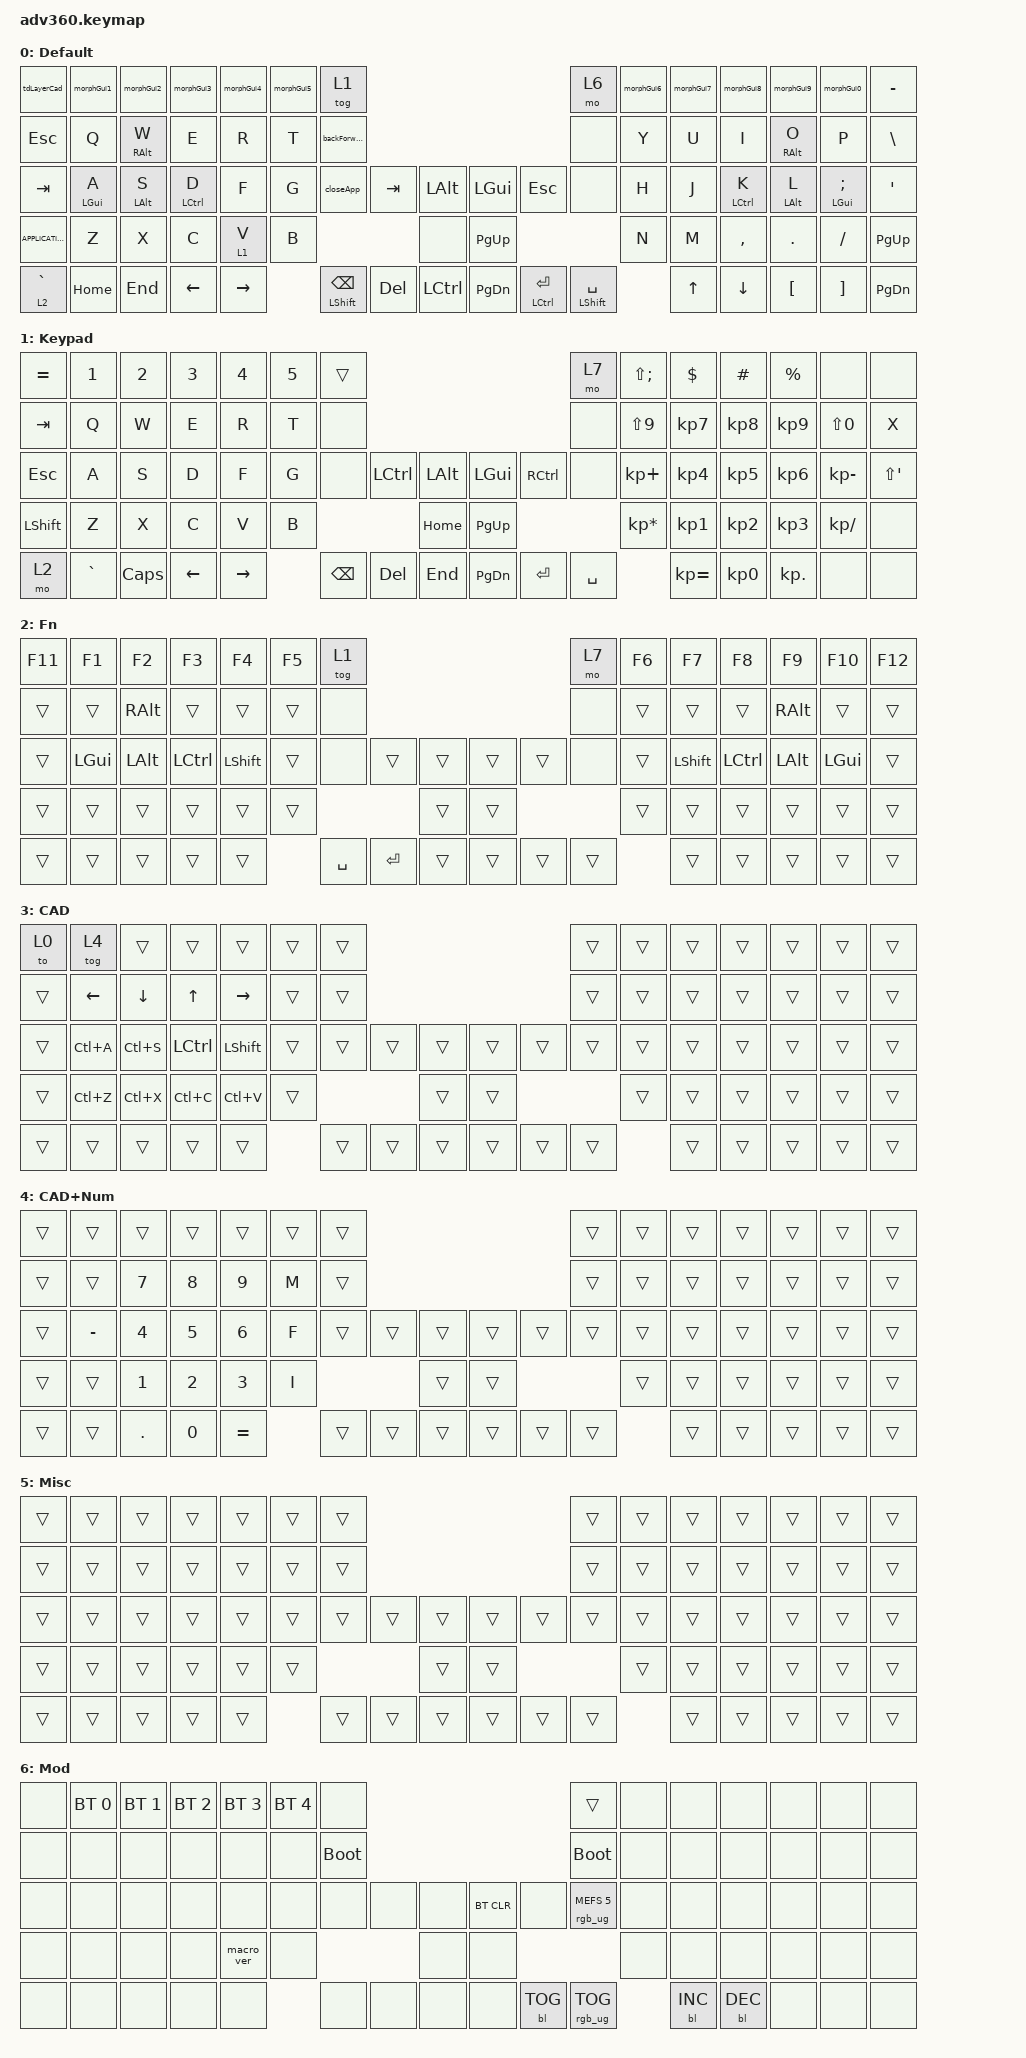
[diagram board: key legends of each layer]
#include "key_labels.h"
#include <behaviors.dtsi>
#include <dt-bindings/zmk/backlight.h>
#include <dt-bindings/zmk/bt.h>
#include <dt-bindings/zmk/keys.h>
#include <dt-bindings/zmk/rgb.h>

#define KEYS_L   0  1  2  3  4  5  6 \
                14 15 16 17 18 19 20 \
                28 29 30 31 32 33 34 \
                46 47 48 49 50 51    \
                60 61 62 63 64
#define THUMBS_LEFT     35 36 \
                           52 \
                     65 66 67 \
#define KEYS_R   7  8  9 10 11 12 13 \
                21 22 23 24 25 26 27 \
                39 40 41 42 43 44 45 \
                   54 55 56 57 58 59 \
                      71 72 73 74 75
#define THUMBS_RIGHT 37 38    \
                     53       \
                     68 69 70 \

// #define KEYS_L LN0 LN1 LN2 LN3 LN4 LN5 LT0 LT1 LT2 LT3 LT4 LT5 LM0 LM1 LM2 LM3 LM4 LM4 LB0 LB1 LB2 LB3 LB4 LB5  // left-hand keys
// #define KEYS_R RN0 RN1 RN2 RN3 RN4 RN5 RT0 RT1 RT2 RT3 RT4 RT5 RM0 RM1 RM2 RM3 RM4 RM4 RB0 RB1 RB2 RB3 RB4 RB5  // right-hand keys
// #define THUMBS LH1 LH0 RH0 RH1                                      // thumb keys

/ {
    behaviors {
        #include "macros.dtsi"
      #include "version.dtsi"
      #ifndef VERSION_MACRO

        macro_ver: macro_ver {
            compatible = "zmk,behavior-macro";
            label = "macro_version";
            #binding-cells = <0>;
            bindings = <&kp RET>;
        };

        #endif

        hml: hml {
            compatible = "zmk,behavior-hold-tap";
            label = "HML";
            #binding-cells = <2>;
            flavor = "balanced";
            tapping-term-ms = <280>;
            quick-tap-ms = <175>;                // repeat on tap-into-hold
            require-prior-idle-ms = <150>;
            bindings = <&kp>, <&kp>;

            hold-trigger-key-positions = <KEYS_R THUMBS_LEFT THUMBS_RIGHT>;
            hold-trigger-on-release;             // delay positional check until key-release
        };

        hmr: hmr {
            compatible = "zmk,behavior-hold-tap";
            label = "HMR";
            #binding-cells = <2>;
            flavor = "balanced";
            tapping-term-ms = <280>;
            quick-tap-ms = <175>;                // repeat on tap-into-hold
            require-prior-idle-ms = <150>;
            bindings = <&kp>, <&kp>;

            hold-trigger-key-positions = <KEYS_L THUMBS_LEFT THUMBS_RIGHT>;
            hold-trigger-on-release;             // delay positional check until key-release
        };

        hmll: hmll {
            compatible = "zmk,behavior-hold-tap";
            label = "HMLL";
            #binding-cells = <2>;
            flavor = "balanced";
            tapping-term-ms = <280>;
            quick-tap-ms = <175>;                // repeat on tap-into-hold
            require-prior-idle-ms = <150>;
            bindings = <&mo>, <&kp>;

            hold-trigger-key-positions = <KEYS_R THUMBS_LEFT THUMBS_RIGHT>;
            hold-trigger-on-release;             // delay positional check until key-release
        };

        hm: homerow_mods {
            compatible = "zmk,behavior-hold-tap";
            label = "HOMEROW_MODS";
            #binding-cells = <2>;
            tapping-term-ms = <200>;
            quick_tap_ms = <175>;
            flavor = "tap-preferred";
            bindings = <&kp>, <&kp>;
        };

        closeApp: closeApp {
            compatible = "zmk,behavior-tap-dance";
            label = "CLOSEAPP";
            #binding-cells = <0>;
            bindings = <&kp LC(F4)>, <&kp LA(F4)>;
        };

        backForward: backForward {
            compatible = "zmk,behavior-tap-dance";
            label = "BACKFORWARD";
            #binding-cells = <0>;
            bindings = <&kp LA(LEFT_ARROW)>, <&kp LA(RIGHT_ARROW)>;
        };

        morphGui1: morphGui1 {
            compatible = "zmk,behavior-mod-morph";
            label = "MORPHGUI1";
            bindings = <&kp LG(N1)>, <&kp N1>;

            #binding-cells = <0>;
            keep-mods = <(MOD_RGUI|MOD_RALT|MOD_RSFT|MOD_RCTL|MOD_LGUI|MOD_LSFT|MOD_LCTL|MOD_LALT)>;
            mods = <(MOD_RGUI|MOD_RALT|MOD_RSFT|MOD_RCTL|MOD_LGUI|MOD_LALT|MOD_LSFT|MOD_LCTL)>;
        };

        morphGui2: morphGui2 {
            compatible = "zmk,behavior-mod-morph";
            label = "MORPHGUI2";
            bindings = <&kp LG(N2)>, <&kp N2>;

            #binding-cells = <0>;
            mods = <(MOD_LCTL|MOD_LSFT|MOD_LALT|MOD_LGUI|MOD_RCTL|MOD_RSFT|MOD_RALT|MOD_RGUI)>;
            keep-mods = <(MOD_LCTL|MOD_LSFT|MOD_LALT|MOD_LGUI|MOD_RCTL|MOD_RSFT|MOD_RALT|MOD_RGUI)>;
        };

        morphGui3: morphGui3 {
            compatible = "zmk,behavior-mod-morph";
            label = "MORPHGUI3";
            bindings = <&kp LG(N3)>, <&kp N3>;

            #binding-cells = <0>;
            mods = <(MOD_RGUI|MOD_RALT|MOD_RSFT|MOD_RCTL|MOD_LGUI|MOD_LALT|MOD_LSFT|MOD_LCTL)>;
            keep-mods = <(MOD_LCTL|MOD_LALT|MOD_LGUI|MOD_LSFT|MOD_RCTL|MOD_RSFT|MOD_RALT|MOD_RGUI)>;
        };

        morphGui4: morphGui4 {
            compatible = "zmk,behavior-mod-morph";
            label = "MORPHGUI4";
            bindings = <&kp LG(N4)>, <&kp N4>;

            #binding-cells = <0>;
            mods = <(MOD_LCTL|MOD_LSFT|MOD_LALT|MOD_LGUI|MOD_RCTL|MOD_RSFT|MOD_RALT|MOD_RGUI)>;
            keep-mods = <(MOD_LCTL|MOD_LSFT|MOD_LALT|MOD_LGUI|MOD_RCTL|MOD_RSFT|MOD_RGUI|MOD_RALT)>;
        };

        morphGui5: morphGui5 {
            compatible = "zmk,behavior-mod-morph";
            label = "MORPHGUI5";
            bindings = <&kp LG(N5)>, <&kp N5>;

            #binding-cells = <0>;
            mods = <(MOD_RGUI|MOD_RALT|MOD_RSFT|MOD_RCTL|MOD_LGUI|MOD_LALT|MOD_LSFT|MOD_LCTL)>;
            keep-mods = <(MOD_RGUI|MOD_RALT|MOD_RSFT|MOD_RCTL|MOD_LGUI|MOD_LALT|MOD_LSFT|MOD_LCTL)>;
        };

        morphGui6: morphGui6 {
            compatible = "zmk,behavior-mod-morph";
            label = "MORPHGUI6";
            bindings = <&kp LG(N6)>, <&kp N6>;

            #binding-cells = <0>;
            mods = <(MOD_LCTL|MOD_LSFT|MOD_LALT|MOD_LGUI|MOD_RCTL|MOD_RSFT|MOD_RGUI|MOD_RALT)>;
            keep-mods = <(MOD_RGUI|MOD_RALT|MOD_RSFT|MOD_RCTL|MOD_LGUI|MOD_LALT|MOD_LSFT|MOD_LCTL)>;
        };

        morphGui7: morphGui7 {
            compatible = "zmk,behavior-mod-morph";
            label = "MORPHGUI7";
            bindings = <&kp LG(N7)>, <&kp N7>;

            #binding-cells = <0>;
            mods = <(MOD_LCTL|MOD_LSFT|MOD_LALT|MOD_LGUI|MOD_RCTL|MOD_RSFT|MOD_RALT|MOD_RGUI)>;
            keep-mods = <(MOD_LCTL|MOD_LSFT|MOD_LALT|MOD_LGUI|MOD_RCTL|MOD_RSFT|MOD_RALT|MOD_RGUI)>;
        };

        morphGui8: morphGui8 {
            compatible = "zmk,behavior-mod-morph";
            label = "MORPHGUI8";
            bindings = <&kp LG(N8)>, <&kp N8>;

            #binding-cells = <0>;
            mods = <(MOD_LCTL|MOD_LSFT|MOD_LALT|MOD_LGUI|MOD_RCTL|MOD_RSFT|MOD_RALT|MOD_RGUI)>;
            keep-mods = <(MOD_LCTL|MOD_LSFT|MOD_LALT|MOD_LGUI|MOD_RCTL|MOD_RSFT|MOD_RALT|MOD_RGUI)>;
        };

        morphGui9: morphGui9 {
            compatible = "zmk,behavior-mod-morph";
            label = "MORPHGUI9";
            bindings = <&kp LG(N9)>, <&kp N9>;

            #binding-cells = <0>;
            mods = <(MOD_LCTL|MOD_LSFT|MOD_LALT|MOD_LGUI|MOD_RCTL|MOD_RSFT|MOD_RALT|MOD_RGUI)>;
            keep-mods = <(MOD_LCTL|MOD_LSFT|MOD_LALT|MOD_LGUI|MOD_RCTL|MOD_RSFT|MOD_RALT|MOD_RGUI)>;
        };

        morphGui0: morphGui0 {
            compatible = "zmk,behavior-mod-morph";
            label = "MORPHGUI0";
            bindings = <&kp LG(N0)>, <&kp N0>;

            #binding-cells = <0>;
            mods = <(MOD_LCTL|MOD_LSFT|MOD_LALT|MOD_LGUI|MOD_RCTL|MOD_RSFT|MOD_RALT|MOD_RGUI)>;
            keep-mods = <(MOD_LCTL|MOD_LSFT|MOD_LALT|MOD_LGUI|MOD_RCTL|MOD_RSFT|MOD_RALT|MOD_RGUI)>;
        };

        tdLayerCad: tdLayerCad {
            compatible = "zmk,behavior-tap-dance";
            label = "TDLAYERCAD";
            #binding-cells = <0>;
            bindings = <&kp EQUAL>, <&to 3>;
        };

        htGeneric: htGeneric {
            compatible = "zmk,behavior-hold-tap";
            label = "HTGENERIC";
            bindings = <&mo>, <&kp>;

            #binding-cells = <2>;
            tapping-term-ms = <200>;
        };

        htThumb: htThumb {
            compatible = "zmk,behavior-hold-tap";
            label = "HTTHUMB";
            bindings = <&kp>, <&kp>;

            #binding-cells = <2>;
            tapping-term-ms = <200>;
            quick-tap-ms = <250>;
            flavor = "balanced";
        };
    };

    macros {
    };

    keymap {
        compatible = "zmk,keymap";

        Default {
            bindings = <
&tdLayerCad         &morphGui1   &morphGui2        &morphGui3    &morphGui4  &morphGui5  &tog 1                                                                                     &mo 6                  &morphGui6  &morphGui7  &morphGui8    &morphGui9        &morphGui0           &kp MINUS
&kp ESC             &kp Q        &hml RIGHT_ALT W  &kp E         &kp R       &kp T       &backForward                                                                               &none                  &kp Y       &kp U       &kp I         &hmr RIGHT_ALT O  &kp P                &kp BSLH
&kp TAB             &hml LGUI A  &hml LALT S       &hml LCTRL D  &kp F       &kp G       &closeApp                      &kp TAB     &kp LALT       &kp LGUI   &kp ESCAPE            &none                  &kp H       &kp J       &hmr LCTRL K  &hmr LALT L       &hmr LGUI SEMICOLON  &kp SQT
&kp K_APPLICATION   &kp Z        &kp X             &kp C         &hmll 1 V   &kp B                                                  &none          &kp PG_UP                                               &kp N       &kp M       &kp COMMA     &kp DOT           &kp FSLH             &kp PG_UP
&htGeneric 2 GRAVE  &kp HOME     &kp END           &kp LEFT      &kp RIGHT               &htThumb LEFT_SHIFT BACKSPACE  &kp DELETE  &kp LCTRL      &kp PG_DN  &htThumb LCTRL ENTER  &htThumb LSHIFT SPACE              &kp UP      &kp DOWN      &kp LBKT          &kp RBKT             &kp PG_DN
            >;
        };

        Keypad {
            bindings = <
&kp EQUAL  &kp N1     &kp N2    &kp N3    &kp N4     &kp N5  &trans                                                   &mo 7      &kp LS(SEMICOLON)  &kp DOLLAR    &kp HASH   &kp PERCENT  &none         &none
&kp TAB    &kp Q      &kp W     &kp E     &kp R      &kp T   &none                                                    &none      &kp LS(N9)         &kp KP_N7     &kp KP_N8  &kp KP_N9    &kp LS(N0)    &kp X
&kp ESC    &kp A      &kp S     &kp D     &kp F      &kp G   &none     &kp LCTRL  &kp LALT      &kp LGUI   &kp RCTRL  &none      &kp KP_PLUS        &kp KP_N4     &kp KP_N5  &kp KP_N6    &kp KP_MINUS  &kp LS(SQT)
&kp LSHFT  &kp Z      &kp X     &kp C     &kp V      &kp B                        &kp HOME      &kp PG_UP                        &kp KP_MULTIPLY    &kp KP_N1     &kp KP_N2  &kp KP_N3    &kp KP_SLASH  &none
&mo 2      &kp GRAVE  &kp CAPS  &kp LEFT  &kp RIGHT          &kp BSPC  &kp DEL    &kp END       &kp PG_DN  &kp ENTER  &kp SPACE                     &kp KP_EQUAL  &kp KP_N0  &kp KP_DOT   &none         &none
            >;
        };

        Fn {
            bindings = <
&kp F11  &kp F1    &kp F2    &kp F3     &kp F4     &kp F5  &tog 1                                            &mo 7   &kp F6  &kp F7     &kp F8     &kp F9    &kp F10   &kp F12
&trans   &trans    &kp RALT  &trans     &trans     &trans  &none                                             &none   &trans  &trans     &trans     &kp RALT  &trans    &trans
&trans   &kp LGUI  &kp LALT  &kp LCTRL  &kp LSHFT  &trans  &none      &trans     &trans      &trans  &trans  &none   &trans  &kp LSHFT  &kp LCTRL  &kp LALT  &kp LGUI  &trans
&trans   &trans    &trans    &trans     &trans     &trans                        &trans      &trans                  &trans  &trans     &trans     &trans    &trans    &trans
&trans   &trans    &trans    &trans     &trans             &kp SPACE  &kp ENTER  &trans      &trans  &trans  &trans          &trans     &trans     &trans    &trans    &trans
            >;
        };

        CAD {
            bindings = <
&to 0   &tog 4     &trans     &trans     &trans      &trans  &trans                                      &trans  &trans  &trans  &trans  &trans  &trans  &trans
&trans  &kp LEFT   &kp DOWN   &kp UP     &kp RIGHT   &trans  &trans                                      &trans  &trans  &trans  &trans  &trans  &trans  &trans
&trans  &kp LC(A)  &kp LC(S)  &kp LCTRL  &kp LSHIFT  &trans  &trans  &trans  &trans      &trans  &trans  &trans  &trans  &trans  &trans  &trans  &trans  &trans
&trans  &kp LC(Z)  &kp LC(X)  &kp LC(C)  &kp LC(V)   &trans                  &trans      &trans                  &trans  &trans  &trans  &trans  &trans  &trans
&trans  &trans     &trans     &trans     &trans              &trans  &trans  &trans      &trans  &trans  &trans          &trans  &trans  &trans  &trans  &trans
            >;
        };

        CAD+Num {
            bindings = <
&trans  &trans     &trans   &trans  &trans     &trans  &trans                                      &trans  &trans  &trans  &trans  &trans  &trans  &trans
&trans  &trans     &kp N7   &kp N8  &kp N9     &kp M   &trans                                      &trans  &trans  &trans  &trans  &trans  &trans  &trans
&trans  &kp MINUS  &kp N4   &kp N5  &kp N6     &kp F   &trans  &trans  &trans      &trans  &trans  &trans  &trans  &trans  &trans  &trans  &trans  &trans
&trans  &trans     &kp N1   &kp N2  &kp N3     &kp I                   &trans      &trans                  &trans  &trans  &trans  &trans  &trans  &trans
&trans  &trans     &kp DOT  &kp N0  &kp EQUAL          &trans  &trans  &trans      &trans  &trans  &trans          &trans  &trans  &trans  &trans  &trans
            >;
        };

        Misc {
            bindings = <
&trans  &trans  &trans  &trans  &trans  &trans  &trans                                      &trans  &trans  &trans  &trans  &trans  &trans  &trans
&trans  &trans  &trans  &trans  &trans  &trans  &trans                                      &trans  &trans  &trans  &trans  &trans  &trans  &trans
&trans  &trans  &trans  &trans  &trans  &trans  &trans  &trans  &trans      &trans  &trans  &trans  &trans  &trans  &trans  &trans  &trans  &trans
&trans  &trans  &trans  &trans  &trans  &trans                  &trans      &trans                  &trans  &trans  &trans  &trans  &trans  &trans
&trans  &trans  &trans  &trans  &trans          &trans  &trans  &trans      &trans  &trans  &trans          &trans  &trans  &trans  &trans  &trans
            >;
        };

        Mod {
            bindings = <
&none  &bt BT_SEL 0  &bt BT_SEL 1  &bt BT_SEL 2  &bt BT_SEL 3  &bt BT_SEL 4  &none                                                  &trans                  &none  &none       &none       &none  &none  &none
&none  &none         &none         &none         &none         &none         &bootloader                                            &bootloader             &none  &none       &none       &none  &none  &none
&none  &none         &none         &none         &none         &none         &none        &none  &none      &bt BT_CLR  &none       &rgb_ug RGB_MEFS_CMD 5  &none  &none       &none       &none  &none  &none
&none  &none         &none         &none         &macro_ver    &none                             &none      &none                                           &none  &none       &none       &none  &none  &none
&none  &none         &none         &none         &none                       &none        &none  &none      &none       &bl BL_TOG  &rgb_ug RGB_TOG                &bl BL_INC  &bl BL_DEC  &none  &none  &none
            >;
        };
    };
};
